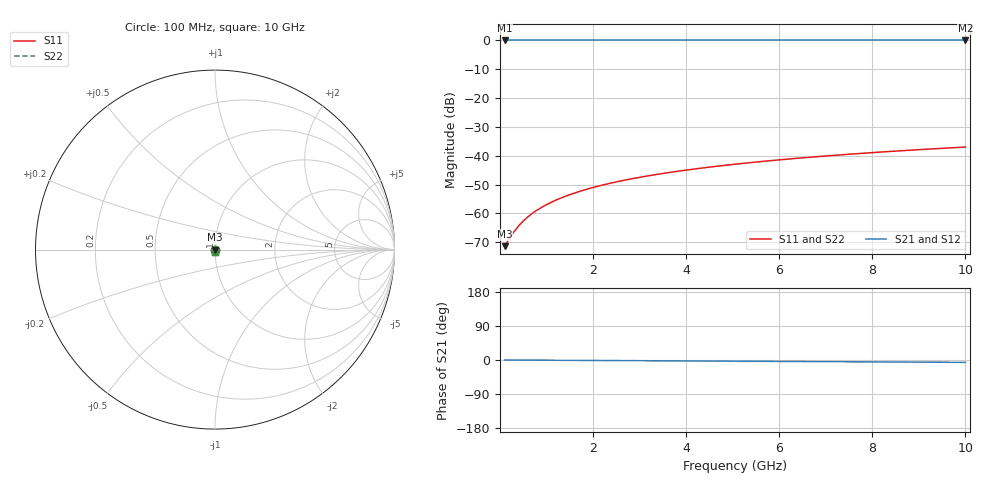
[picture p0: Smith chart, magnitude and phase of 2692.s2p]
# Hz S RI R 50.00
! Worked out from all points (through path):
!   100 points, 100 MHz to 10 GHz, reference 50 ohm
!   highest |S21| = 0.00 dB at 100 MHz (marker M1); lowest = 0.0 dB at 10 GHz (marker M2)
!   lowest |S11| = -71.4 dB at 100 MHz (marker M3), VSWR 1.00, Z = 50 - j0.014 ohm
!   |S11| at or under -10 dB: start of sweep to end of sweep
!   |S22| runs from -71.4 to -37.0 dB; largest |S21 - S12| = 0
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1e8  0.000232 -0.00014  0.9998 -0.00108  0.9998 -0.00108  0.000232 -0.00014
2e8  0.000232 -0.00028  0.9998 -0.00215  0.9998 -0.00215  0.000232 -0.00028
3e8  0.000232 -0.000421  0.9998 -0.00323  0.9998 -0.00323  0.000232 -0.000421
4e8  0.000231 -0.000561  0.9998 -0.0043  0.9998 -0.0043  0.000231 -0.000561
5e8  0.00023 -0.000701  0.9997 -0.00538  0.9997 -0.00538  0.00023 -0.000701
6e8  0.000229 -0.000842  0.9997 -0.00645  0.9997 -0.00645  0.000229 -0.000842
7e8  0.000227 -0.000982  0.9997 -0.00753  0.9997 -0.00753  0.000227 -0.000982
9e8  0.000222 -0.00126  0.9997 -0.00968  0.9997 -0.00968  0.000222 -0.00126
1e9  0.000219 -0.0014  0.9997 -0.0108  0.9997 -0.0108  0.000219 -0.0014
1.2e9  0.000212 -0.00168  0.9997 -0.0129  0.9997 -0.0129  0.000212 -0.00168
1.5e9  0.000199 -0.00211  0.9996 -0.0161  0.9996 -0.0161  0.000199 -0.00211
1.8e9  0.000184 -0.00253  0.9996 -0.0194  0.9996 -0.0194  0.000184 -0.00253
2.1e9  0.000166 -0.00295  0.9995 -0.0226  0.9995 -0.0226  0.000166 -0.00295
2.5e9  0.000137 -0.00352  0.9994 -0.0269  0.9994 -0.0269  0.000137 -0.00352
2.9e9  0.000103 -0.00408  0.9992 -0.0312  0.9992 -0.0312  0.000103 -0.00408
3.4e9  5.35e-05 -0.00479  0.999 -0.0366  0.999 -0.0366  5.35e-05 -0.00479
4.2e9  -4.16e-05 -0.00593  0.9987 -0.0453  0.9987 -0.0453  -4.16e-05 -0.00593
5.1e9  -0.000173 -0.00721  0.9982 -0.055  0.9982 -0.055  -0.000173 -0.00721
5.9e9  -0.00031 -0.00834  0.9976 -0.0637  0.9976 -0.0637  -0.00031 -0.00834
6.7e9  -0.000468 -0.00948  0.997 -0.0724  0.997 -0.0724  -0.000468 -0.00948
8.4e9  -0.000869 -0.0119  0.9955 -0.0909  0.9955 -0.0909  -0.000869 -0.0119
1e10  -0.00133 -0.0141  0.9937 -0.1084  0.9937 -0.1084  -0.00133 -0.0141
